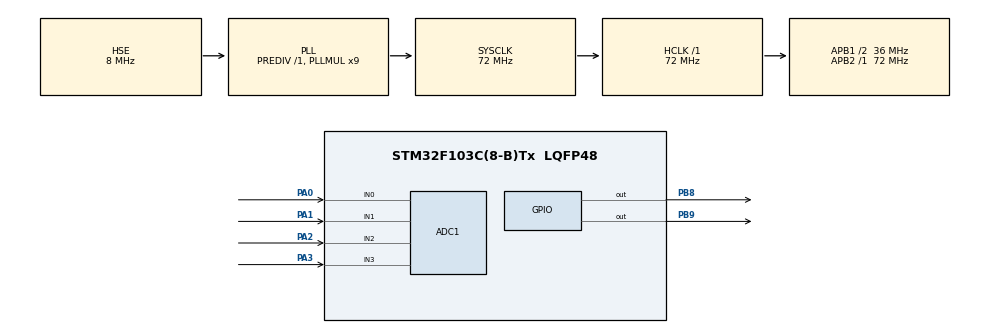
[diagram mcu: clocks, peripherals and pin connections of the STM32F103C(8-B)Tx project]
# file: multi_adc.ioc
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ADC1.Channel-0\#ChannelRegularConversion=ADC_CHANNEL_0
ADC1.Channel-1\#ChannelRegularConversion=ADC_CHANNEL_1
ADC1.Channel-2\#ChannelRegularConversion=ADC_CHANNEL_2
ADC1.Channel-4\#ChannelRegularConversion=ADC_CHANNEL_3
ADC1.DiscontinuousConvMode=ENABLE
ADC1.NbrOfConversion=4
ADC1.NbrOfConversionFlag=1
ADC1.Rank-0\#ChannelRegularConversion=1
ADC1.Rank-1\#ChannelRegularConversion=2
ADC1.Rank-2\#ChannelRegularConversion=3
ADC1.Rank-4\#ChannelRegularConversion=4
ADC1.SamplingTime-0\#ChannelRegularConversion=ADC_SAMPLETIME_1CYCLE_5
ADC1.SamplingTime-1\#ChannelRegularConversion=ADC_SAMPLETIME_1CYCLE_5
ADC1.SamplingTime-2\#ChannelRegularConversion=ADC_SAMPLETIME_1CYCLE_5
ADC1.SamplingTime-4\#ChannelRegularConversion=ADC_SAMPLETIME_1CYCLE_5
ADC1.master=1
Mcu.Family=STM32F1
Mcu.Name=STM32F103C(8-B)Tx
Mcu.Package=LQFP48
NVIC.PriorityGroup=NVIC_PRIORITYGROUP_4
PA0-WKUP.Signal=ADCx_IN0
PA1.Signal=ADCx_IN1
PA13.Mode=Serial_Wire
PA13.Signal=SYS_JTMS-SWDIO
PA14.Mode=Serial_Wire
PA14.Signal=SYS_JTCK-SWCLK
PA2.Signal=ADCx_IN2
PA3.Signal=ADCx_IN3
PB8.GPIO_ModeDefaultOutputPP=GPIO_MODE_OUTPUT_OD
PB8.GPIO_PuPd=GPIO_NOPULL
PB8.Signal=GPIO_Output
PB9.GPIO_ModeDefaultOutputPP=GPIO_MODE_OUTPUT_OD
PB9.GPIO_PuPd=GPIO_NOPULL
PB9.Signal=GPIO_Output
PD0-OSC_IN.Mode=HSE-External-Oscillator
PD0-OSC_IN.Signal=RCC_OSC_IN
PD1-OSC_OUT.Mode=HSE-External-Oscillator
PD1-OSC_OUT.Signal=RCC_OSC_OUT
ProjectManager.HeapSize=0x200
ProjectManager.StackSize=0x400
ProjectManager.TargetToolchain=STM32CubeIDE
RCC.ADCPresc=RCC_ADCPCLK2_DIV6
RCC.AHBFreq_Value=72000000
RCC.APB1CLKDivider=RCC_HCLK_DIV2
RCC.APB1Freq_Value=36000000
RCC.APB1TimFreq_Value=72000000
RCC.APB2Freq_Value=72000000
RCC.APB2TimFreq_Value=72000000
RCC.HCLKFreq_Value=72000000
RCC.PLLMUL=RCC_PLL_MUL9
RCC.PLLSourceVirtual=RCC_PLLSOURCE_HSE
RCC.SYSCLKFreq_VALUE=72000000
RCC.SYSCLKSource=RCC_SYSCLKSOURCE_PLLCLK
RCC.USBFreq_Value=72000000
SH.ADCx_IN0.0=ADC1_IN0,IN0
SH.ADCx_IN1.0=ADC1_IN1,IN1
SH.ADCx_IN2.0=ADC1_IN2,IN2
SH.ADCx_IN3.0=ADC1_IN3,IN3
board=custom

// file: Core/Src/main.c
/* USER CODE BEGIN Header */
/**
  ******************************************************************************
  * @file           : main.c
  * @brief          : Main program body
  ******************************************************************************
  * @attention
  *
  * Copyright (c) 2026 STMicroelectronics.
  * All rights reserved.
  *
  * This software is licensed under terms that can be found in the LICENSE file
  * in the root directory of this software component.
  * If no LICENSE file comes with this software, it is provided AS-IS.
  *
  ******************************************************************************
  */
/* USER CODE END Header */
#include "main.h"
#include "adc.h"
#include "gpio.h"

/* USER CODE BEGIN PV */
uint16_t value[4] = {0};
/* USER CODE END PV */

void SystemClock_Config(void);

int main(void)
{

  /* MCU Configuration--------------------------------------------------------*/

  /* Reset of all peripherals, Initializes the Flash interface and the Systick. */
  HAL_Init();

  /* Configure the system clock */
  SystemClock_Config();

  /* Initialize all configured peripherals */
  MX_GPIO_Init();
  MX_ADC1_Init();

  /* Infinite loop */
  /* USER CODE BEGIN WHILE */
	OLED_Init();
	HAL_ADCEx_Calibration_Start(&hadc1);
	OLED_Clear();
	OLED_ShowString(1, 1, "v1:");
	OLED_ShowString(2, 1, "v2:");
	OLED_ShowString(3, 1, "v3:");
	OLED_ShowString(4, 1, "v4:");

  while (1)
  {
	  for(uint8_t i = 0; i < 4; i++)
	  {
		  HAL_ADC_Start(&hadc1);
		  if(HAL_ADC_PollForConversion(&hadc1, HAL_MAX_DELAY) == HAL_OK)
		  {
			  value[i] = HAL_ADC_GetValue(&hadc1);
		  }
		  OLED_ShowNum(1, 5, value[0], 4);
		  OLED_ShowNum(2, 5, value[1], 4);
		  OLED_ShowNum(3, 5, value[2], 4);
		  OLED_ShowNum(4, 5, value[3], 4);

	  }
    /* USER CODE END WHILE */

  }
}

void SystemClock_Config(void)
{
  RCC_OscInitTypeDef RCC_OscInitStruct = {0};
  RCC_ClkInitTypeDef RCC_ClkInitStruct = {0};
  RCC_PeriphCLKInitTypeDef PeriphClkInit = {0};

  /** Initializes the RCC Oscillators according to the specified parameters
  * in the RCC_OscInitTypeDef structure.
  */
  RCC_OscInitStruct.OscillatorType = RCC_OSCILLATORTYPE_HSE;
  RCC_OscInitStruct.HSEState = RCC_HSE_ON;
  RCC_OscInitStruct.HSEPredivValue = RCC_HSE_PREDIV_DIV1;
  RCC_OscInitStruct.HSIState = RCC_HSI_ON;
  RCC_OscInitStruct.PLL.PLLState = RCC_PLL_ON;
  RCC_OscInitStruct.PLL.PLLSource = RCC_PLLSOURCE_HSE;
  RCC_OscInitStruct.PLL.PLLMUL = RCC_PLL_MUL9;
  if (HAL_RCC_OscConfig(&RCC_OscInitStruct) != HAL_OK)
  {
    Error_Handler();
  }

  /** Initializes the CPU, AHB and APB buses clocks
  */
  RCC_ClkInitStruct.ClockType = RCC_CLOCKTYPE_HCLK|RCC_CLOCKTYPE_SYSCLK
                              |RCC_CLOCKTYPE_PCLK1|RCC_CLOCKTYPE_PCLK2;
  RCC_ClkInitStruct.SYSCLKSource = RCC_SYSCLKSOURCE_PLLCLK;
  RCC_ClkInitStruct.AHBCLKDivider = RCC_SYSCLK_DIV1;
  RCC_ClkInitStruct.APB1CLKDivider = RCC_HCLK_DIV2;
  RCC_ClkInitStruct.APB2CLKDivider = RCC_HCLK_DIV1;

  if (HAL_RCC_ClockConfig(&RCC_ClkInitStruct, FLASH_LATENCY_2) != HAL_OK)
  {
    Error_Handler();
  }
  PeriphClkInit.PeriphClockSelection = RCC_PERIPHCLK_ADC;
  PeriphClkInit.AdcClockSelection = RCC_ADCPCLK2_DIV6;
  if (HAL_RCCEx_PeriphCLKConfig(&PeriphClkInit) != HAL_OK)
  {
    Error_Handler();
  }
}

void Error_Handler(void)
{
  __disable_irq();
  while (1)
  {
  }
}
